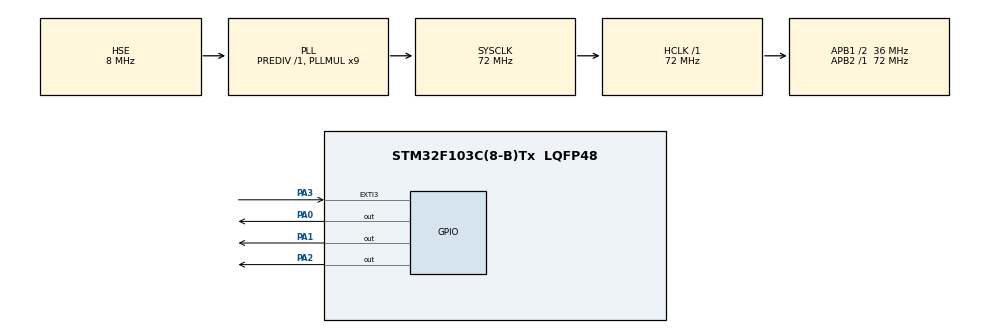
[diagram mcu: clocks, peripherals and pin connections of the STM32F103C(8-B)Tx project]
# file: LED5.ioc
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Mcu.Family=STM32F1
Mcu.Name=STM32F103C(8-B)Tx
Mcu.Package=LQFP48
NVIC.EXTI3_IRQn=true\:0\:0\:false\:false\:true\:true\:true\:true
NVIC.PriorityGroup=NVIC_PRIORITYGROUP_4
PA0-WKUP.PinState=GPIO_PIN_SET
PA0-WKUP.Signal=GPIO_Output
PA1.PinState=GPIO_PIN_SET
PA1.Signal=GPIO_Output
PA13.Mode=Serial_Wire
PA13.Signal=SYS_JTMS-SWDIO
PA14.Mode=Serial_Wire
PA14.Signal=SYS_JTCK-SWCLK
PA2.PinState=GPIO_PIN_SET
PA2.Signal=GPIO_Output
PA3.GPIO_ModeDefaultEXTI=GPIO_MODE_IT_FALLING
PA3.GPIO_PuPd=GPIO_PULLUP
PA3.Signal=GPXTI3
PD0-OSC_IN.Mode=HSE-External-Oscillator
PD0-OSC_IN.Signal=RCC_OSC_IN
PD1-OSC_OUT.Mode=HSE-External-Oscillator
PD1-OSC_OUT.Signal=RCC_OSC_OUT
ProjectManager.HeapSize=0x200
ProjectManager.StackSize=0x400
ProjectManager.TargetToolchain=MDK-ARM V5.32
RCC.AHBFreq_Value=72000000
RCC.APB1CLKDivider=RCC_HCLK_DIV2
RCC.APB1Freq_Value=36000000
RCC.APB1TimFreq_Value=72000000
RCC.APB2Freq_Value=72000000
RCC.APB2TimFreq_Value=72000000
RCC.HCLKFreq_Value=72000000
RCC.PLLMUL=RCC_PLL_MUL9
RCC.PLLSourceVirtual=RCC_PLLSOURCE_HSE
RCC.SYSCLKFreq_VALUE=72000000
RCC.SYSCLKSource=RCC_SYSCLKSOURCE_PLLCLK
RCC.USBFreq_Value=72000000
board=custom

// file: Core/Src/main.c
/* USER CODE BEGIN Header */
/**
  ******************************************************************************
  * @file           : main.c
  * @brief          : Main program body
  ******************************************************************************
  * @attention
  *
  * Copyright (c) 2024 STMicroelectronics.
  * All rights reserved.
  *
  * This software is licensed under terms that can be found in the LICENSE file
  * in the root directory of this software component.
  * If no LICENSE file comes with this software, it is provided AS-IS.
  *
  ******************************************************************************
  */
/* USER CODE END Header */
#include "main.h"
#include "gpio.h"

void SystemClock_Config(void);
/* USER CODE BEGIN PFP */
int sign;
/* USER CODE END PFP */

int main(void)
{

  /* MCU Configuration--------------------------------------------------------*/

  /* Reset of all peripherals, Initializes the Flash interface and the Systick. */
  HAL_Init();

  /* Configure the system clock */
  SystemClock_Config();

  /* Initialize all configured peripherals */
  MX_GPIO_Init();

  /* Infinite loop */
  /* USER CODE BEGIN WHILE */
  while (1)
  {

		if(sign==0)
		{
		HAL_GPIO_WritePin(GPIOA,GPIO_PIN_0,GPIO_PIN_SET);
				  HAL_GPIO_WritePin(GPIOA,GPIO_PIN_1,GPIO_PIN_SET);
				  HAL_GPIO_WritePin(GPIOA,GPIO_PIN_2,GPIO_PIN_SET);
		}

			if(sign==1)

		{
		HAL_GPIO_TogglePin(GPIOA,GPIO_PIN_0);
		HAL_Delay(500);
		HAL_GPIO_TogglePin(GPIOA,GPIO_PIN_0);

		HAL_GPIO_TogglePin(GPIOA,GPIO_PIN_1);
		HAL_Delay(500);
		HAL_GPIO_TogglePin(GPIOA,GPIO_PIN_1);
		HAL_GPIO_TogglePin(GPIOA,GPIO_PIN_2);
		HAL_Delay(500);
		HAL_GPIO_TogglePin(GPIOA,GPIO_PIN_2);

		}

    /* USER CODE END WHILE */

  }
}

void SystemClock_Config(void)
{
  RCC_OscInitTypeDef RCC_OscInitStruct = {0};
  RCC_ClkInitTypeDef RCC_ClkInitStruct = {0};

  /** Initializes the RCC Oscillators according to the specified parameters
  * in the RCC_OscInitTypeDef structure.
  */
  RCC_OscInitStruct.OscillatorType = RCC_OSCILLATORTYPE_HSE;
  RCC_OscInitStruct.HSEState = RCC_HSE_ON;
  RCC_OscInitStruct.HSEPredivValue = RCC_HSE_PREDIV_DIV1;
  RCC_OscInitStruct.HSIState = RCC_HSI_ON;
  RCC_OscInitStruct.PLL.PLLState = RCC_PLL_ON;
  RCC_OscInitStruct.PLL.PLLSource = RCC_PLLSOURCE_HSE;
  RCC_OscInitStruct.PLL.PLLMUL = RCC_PLL_MUL9;
  if (HAL_RCC_OscConfig(&RCC_OscInitStruct) != HAL_OK)
  {
    Error_Handler();
  }

  /** Initializes the CPU, AHB and APB buses clocks
  */
  RCC_ClkInitStruct.ClockType = RCC_CLOCKTYPE_HCLK|RCC_CLOCKTYPE_SYSCLK
                              |RCC_CLOCKTYPE_PCLK1|RCC_CLOCKTYPE_PCLK2;
  RCC_ClkInitStruct.SYSCLKSource = RCC_SYSCLKSOURCE_PLLCLK;
  RCC_ClkInitStruct.AHBCLKDivider = RCC_SYSCLK_DIV1;
  RCC_ClkInitStruct.APB1CLKDivider = RCC_HCLK_DIV2;
  RCC_ClkInitStruct.APB2CLKDivider = RCC_HCLK_DIV1;

  if (HAL_RCC_ClockConfig(&RCC_ClkInitStruct, FLASH_LATENCY_2) != HAL_OK)
  {
    Error_Handler();
  }
}

/* USER CODE BEGIN 4 */

void HAL_GPIO_EXTI_Callback(uint16_t GPIO_Pin)
{
  if(GPIO_Pin==GPIO_PIN_3)
  {
   sign=1;
	}

}

/* USER CODE END 4 */

void Error_Handler(void)
{
  __disable_irq();
  while (1)
  {
  }
}
